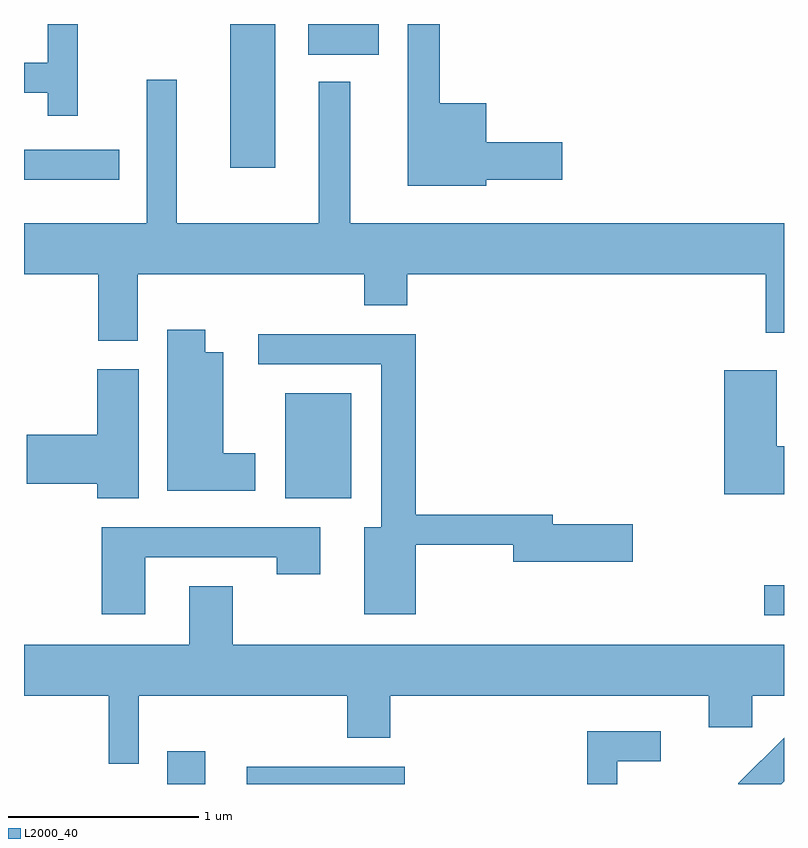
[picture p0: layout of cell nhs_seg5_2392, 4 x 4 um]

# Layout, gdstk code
import gdstk
lib = gdstk.Library(unit=1e-6, precision=1e-09)
def R(c, l, rs):  # rectangles x0, y0, x1, y1
    for r in rs: c.add(gdstk.rectangle(r[:2], r[2:], *l))
def P(c, l, *ps):  # polygons
    for p in ps: c.add(gdstk.Polygon(p, *l))
L2000_40 = (2000, 40)

nhs_seg5_2392 = lib.new_cell('nhs_seg5_2392')
R(nhs_seg5_2392, L2000_40, [(256.366,1494.072,256.564,1494.244), (256.783,1494.072,257.614,1494.164), (259.508,1494.961,259.611,1495.119), (256.986,1495.576,257.334,1496.129), (255.611,1497.251,256.113,1497.409), (256.696,1497.316,256.934,1498.072), (257.106,1497.911,257.479,1498.072)])
P(nhs_seg5_2392, L2000_40, [(258.044,1497.251),(258.444,1497.251),(258.444,1497.449),(258.044,1497.449),(258.044,1497.654),(257.799,1497.654),(257.799,1498.072),(257.631,1498.072),(257.631,1497.221),(258.044,1497.221)],
  [(255.894,1498.072),(255.736,1498.072),(255.736,1497.869),(255.611,1497.869),(255.611,1497.711),(255.736,1497.711),(255.736,1497.588),(255.894,1497.588)],
  [(256.209,1496.756),(257.401,1496.756),(257.401,1496.591),(257.629,1496.591),(257.629,1496.756),(259.516,1496.756),(259.516,1496.446),(259.611,1496.446),(259.611,1497.024),(257.329,1497.024),(257.329,1497.768),(257.161,1497.768),(257.161,1497.024),(256.414,1497.024),(256.414,1497.778),(256.256,1497.778),(256.256,1497.024),(255.611,1497.024),(255.611,1496.756),(256.001,1496.756),(256.001,1496.406),(256.209,1496.406)],
  [(256.829,1495.814),(256.659,1495.814),(256.659,1496.344),(256.564,1496.344),(256.564,1496.464),(256.366,1496.464),(256.366,1495.616),(256.829,1495.616)],
  [(257.674,1495.331),(258.186,1495.331),(258.186,1495.241),(258.814,1495.241),(258.814,1495.439),(258.394,1495.439),(258.394,1495.489),(257.674,1495.489),(257.674,1496.439),(256.843,1496.439),(256.843,1496.281),(257.491,1496.281),(257.491,1495.424),(257.401,1495.424),(257.401,1494.966),(257.674,1494.966)],
  [(256.214,1496.254),(255.996,1496.254),(255.996,1495.909),(255.626,1495.909),(255.626,1495.651),(255.996,1495.651),(255.996,1495.576),(256.214,1495.576)],
  [(259.611,1495.849),(259.574,1495.849),(259.574,1496.249),(259.296,1496.249),(259.296,1495.596),(259.611,1495.596)],
  [(256.249,1495.266),(256.941,1495.266),(256.941,1495.176),(257.169,1495.176),(257.169,1495.424),(256.021,1495.424),(256.021,1494.966),(256.249,1494.966)],
  [(256.214,1494.536),(257.311,1494.536),(257.311,1494.316),(257.539,1494.316),(257.539,1494.536),(259.216,1494.536),(259.216,1494.371),(259.444,1494.371),(259.444,1494.536),(259.611,1494.536),(259.611,1494.804),(256.709,1494.804),(256.709,1495.114),(256.481,1495.114),(256.481,1494.804),(255.611,1494.804),(255.611,1494.536),(256.056,1494.536),(256.056,1494.178),(256.214,1494.178)],
  [(258.734,1494.191),(258.962,1494.191),(258.962,1494.349),(258.576,1494.349),(258.576,1494.072),(258.734,1494.072)],
  [(259.611,1494.086),(259.611,1494.316),(259.371,1494.077),(259.371,1494.072),(259.597,1494.072)])

lib.write_gds('nhs_seg5_2392.gds')
